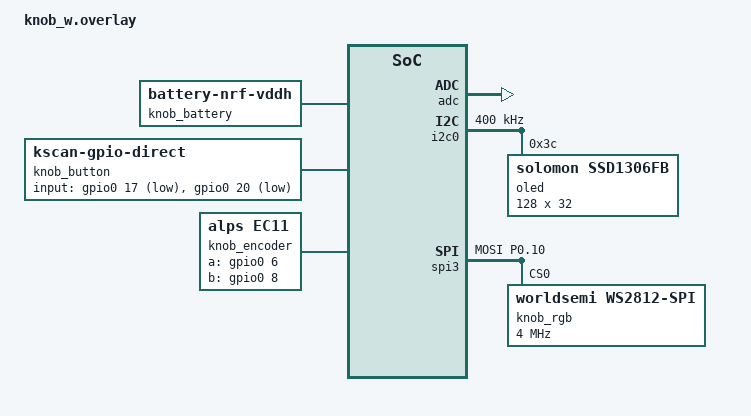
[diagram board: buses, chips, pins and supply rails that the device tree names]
#include <dt-bindings/led/led.h>

&adc { status = "okay"; };
/ {
    knob_battery: knob_battery { compatible = "zmk,battery-nrf-vddh"; };
};

&uart0 { status = "disabled"; };
&i2c1 { status = "disabled"; };
&spi2 { status = "disabled"; };
&pwm0 { status = "disabled"; };
&{/pwmleds} { status = "disabled"; };

&i2c0 {
    compatible = "nordic,nrf-twim";
    status = "okay";
    clock-frequency = <400000>;
    /* One control byte followed by the complete 128x32 monochrome frame. */
    zephyr,concat-buf-size = <513>;
    zephyr,flash-buf-max-size = <513>;
    oled: ssd1306@3c {
        compatible = "solomon,ssd1306fb";
        reg = <0x3c>;
        width = <128>;
        height = <32>;
        segment-offset = <0>;
        page-offset = <0>;
        display-offset = <0>;
        multiplex-ratio = <31>;
        com-sequential;
        /* Native SSD1306 scan direction: rotated 180 degrees from the prior UI. */
        prechargep = <0x22>;
    };
};

&pinctrl {
    knob_rgb_default: knob_rgb_default {
        group1 { psels = <NRF_PSEL(SPIM_MOSI, 0, 10)>; };
    };
    knob_rgb_sleep: knob_rgb_sleep {
        group1 {
            psels = <NRF_PSEL(SPIM_MOSI, 0, 10)>;
            low-power-enable;
        };
    };
};

&spi3 {
    compatible = "nordic,nrf-spim";
    status = "okay";
    pinctrl-0 = <&knob_rgb_default>;
    pinctrl-1 = <&knob_rgb_sleep>;
    pinctrl-names = "default", "sleep";
    knob_rgb: ws2812@0 {
        compatible = "worldsemi,ws2812-spi";
        reg = <0>;
        spi-max-frequency = <4000000>;
        chain-length = <2>;
        spi-one-frame = <0x70>;
        spi-zero-frame = <0x40>;
        color-mapping = <LED_COLOR_ID_GREEN LED_COLOR_ID_RED LED_COLOR_ID_BLUE>;
    };
};

/ {
    chosen {
        zmk,kscan = &knob_button;
        zmk,underglow = &knob_rgb;
        zephyr,display = &oled;
    };
    knob_button: kscan {
        compatible = "zmk,kscan-gpio-direct";
        input-gpios = <&gpio0 17 (GPIO_ACTIVE_LOW | GPIO_PULL_UP)>,
                      <&gpio0 20 (GPIO_ACTIVE_LOW | GPIO_PULL_UP)>;
        debounce-press-ms = <5>;
        debounce-release-ms = <5>;
        wakeup-source;
    };
    knob_encoder: encoder {
        compatible = "alps,ec11";
        a-gpios = <&gpio0 6 GPIO_PULL_UP>;
        b-gpios = <&gpio0 8 GPIO_PULL_UP>;
        steps = <80>;
    };
    sensors: sensors {
        compatible = "zmk,keymap-sensors";
        sensors = <&knob_encoder>;
        triggers-per-rotation = <20>;
    };
};
